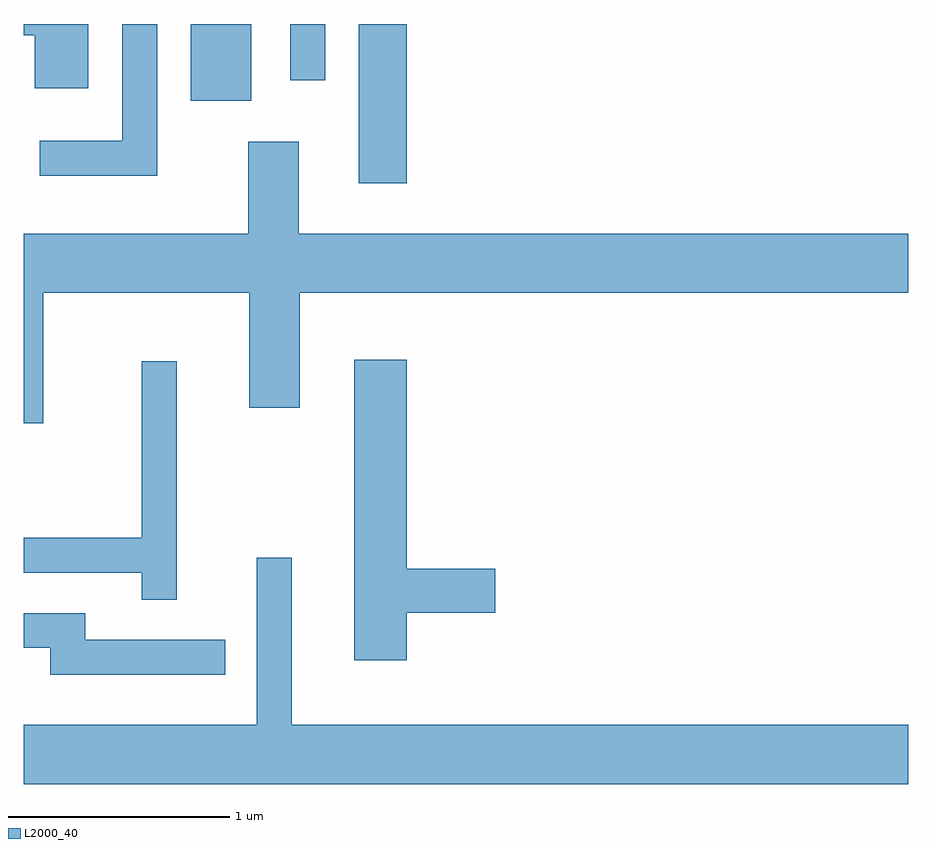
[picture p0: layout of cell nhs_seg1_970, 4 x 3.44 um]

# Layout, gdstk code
import gdstk
lib = gdstk.Library(unit=1e-6, precision=1e-09)
def R(c, l, rs):  # rectangles x0, y0, x1, y1
    for r in rs: c.add(gdstk.rectangle(r[:2], r[2:], *l))
def P(c, l, *ps):  # polygons
    for p in ps: c.add(gdstk.Polygon(p, *l))
L2000_40 = (2000, 40)

nhs_seg1_970 = lib.new_cell('nhs_seg1_970')
R(nhs_seg1_970, L2000_40, [(217.126,868.991,217.344,869.712), (216.366,869.366,216.639,869.712), (216.816,869.458,216.974,869.712)])
P(nhs_seg1_970, L2000_40, [(215.904,869.712),(215.611,869.712),(215.611,869.661),(215.661,869.661),(215.661,869.421),(215.904,869.421)],
  [(216.214,869.712),(216.056,869.712),(216.056,869.184),(215.683,869.184),(215.683,869.026),(216.214,869.026)],
  [(215.699,868.496),(216.631,868.496),(216.631,867.976),(216.859,867.976),(216.859,868.496),(219.611,868.496),(219.611,868.764),(216.854,868.764),(216.854,869.179),(216.626,869.179),(216.626,868.764),(215.611,868.764),(215.611,867.906),(215.699,867.906)],
  [(217.344,867.051),(217.744,867.051),(217.744,867.249),(217.344,867.249),(217.344,868.194),(217.106,868.194),(217.106,866.836),(217.344,866.836)],
  [(216.304,868.188),(216.146,868.188),(216.146,867.389),(215.611,867.389),(215.611,867.231),(216.146,867.231),(216.146,867.108),(216.304,867.108)],
  [(219.611,866.544),(216.824,866.544),(216.824,867.298),(216.666,867.298),(216.666,866.544),(215.611,866.544),(215.611,866.276),(219.611,866.276)],
  [(216.523,866.929),(215.889,866.929),(215.889,867.049),(215.611,867.049),(215.611,866.891),(215.731,866.891),(215.731,866.771),(216.523,866.771)])

lib.write_gds('nhs_seg1_970.gds')
